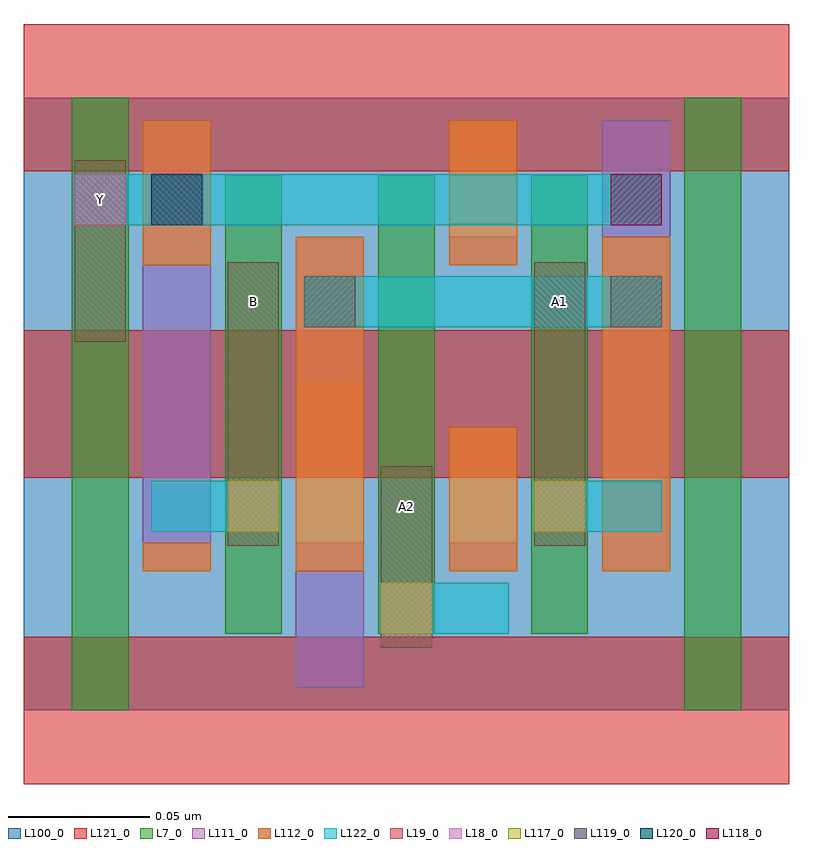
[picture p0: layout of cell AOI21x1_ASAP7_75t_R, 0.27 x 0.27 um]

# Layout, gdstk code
import gdstk
lib = gdstk.Library(unit=1e-6, precision=2.5e-10)
def R(c, l, rs):  # rectangles x0, y0, x1, y1
    for r in rs: c.add(gdstk.rectangle(r[:2], r[2:], *l))
def A(c, l, x, y, w, h, nx, ny, dx, dy):  # array of equal rectangles
    R(c, l, [(x+i*dx, y+j*dy, x+i*dx+w, y+j*dy+h) for i in range(nx) for j in range(ny)])
L7_0 = (7, 0)
L18_0 = (18, 0)
L19_0 = (19, 0)
L100_0 = (100, 0)
L111_0 = (111, 0)
L112_0 = (112, 0)
L117_0 = (117, 0)
L118_0 = (118, 0)
L119_0 = (119, 0)
L120_0 = (120, 0)
L121_0 = (121, 0)
L122_0 = (122, 0)

aoi21x1_asap7_75t_r = lib.new_cell('AOI21x1_ASAP7_75t_R')
A(aoi21x1_asap7_75t_r, L7_0, 0.071, 0.027, 0.02, 0.081, 3, 2, 0.054, 0.081)
R(aoi21x1_asap7_75t_r, L7_0, [(0.017,0,0.037,0.108), (0.233,0,0.253,0.108), (0.017,0.108,0.037,0.216), (0.233,0.108,0.253,0.216)])
R(aoi21x1_asap7_75t_r, L18_0, [(0.126,0.027,0.144,0.045), (0.072,0.063,0.09,0.081), (0.18,0.063,0.198,0.081), (0.018,0.171,0.036,0.189)])
R(aoi21x1_asap7_75t_r, L19_0, [(0.126,0.022,0.144,0.086), (0.072,0.058,0.09,0.158), (0.18,0.058,0.198,0.158), (0.018,0.13,0.036,0.194)])
R(aoi21x1_asap7_75t_r, L100_0, [(0,0,0.27,0.216)])
R(aoi21x1_asap7_75t_r, L111_0, [(0.096,0.008,0.12,0.059), (0.042,0.049,0.066,0.108), (0.15,0.049,0.174,0.059), (0.204,0.049,0.228,0.108), (0.042,0.108,0.066,0.208), (0.204,0.108,0.228,0.208), (0.096,0.116,0.12,0.167), (0.15,0.157,0.174,0.167)])
R(aoi21x1_asap7_75t_r, L112_0, [(0.042,0.049,0.066,0.059), (0.096,0.049,0.12,0.108), (0.15,0.049,0.174,0.1), (0.204,0.049,0.228,0.108), (0.096,0.108,0.12,0.167), (0.204,0.108,0.228,0.167), (0.042,0.157,0.066,0.208), (0.15,0.157,0.174,0.208)])
R(aoi21x1_asap7_75t_r, L117_0, [(0.126,0.027,0.144,0.045), (0.072,0.063,0.09,0.081), (0.18,0.063,0.198,0.081)])
R(aoi21x1_asap7_75t_r, L118_0, [(0.207,0.171,0.225,0.189)])
R(aoi21x1_asap7_75t_r, L119_0, [(0.099,0.135,0.117,0.153), (0.207,0.135,0.225,0.153), (0.045,0.171,0.063,0.189)])
R(aoi21x1_asap7_75t_r, L120_0, [(0.045,0.171,0.063,0.189)])
A(aoi21x1_asap7_75t_r, L121_0, 0, -0.026, 0.27, 0.052, 1, 3, 0, 0.108)
R(aoi21x1_asap7_75t_r, L122_0, [(0.126,0.027,0.171,0.045), (0.045,0.063,0.09,0.081), (0.18,0.063,0.225,0.081), (0.099,0.135,0.225,0.153), (0.018,0.171,0.225,0.189)])
aoi21x1_asap7_75t_r.add(gdstk.Label('Y', (0.027,0.18), layer=19, texttype=251))
aoi21x1_asap7_75t_r.add(gdstk.Label('B', (0.081,0.144), layer=19, texttype=251))
aoi21x1_asap7_75t_r.add(gdstk.Label('A2', (0.135,0.072), layer=19, texttype=251))
aoi21x1_asap7_75t_r.add(gdstk.Label('A1', (0.189,0.144), layer=19, texttype=251))

lib.write_gds('AOI21x1_ASAP7_75t_R.gds')
